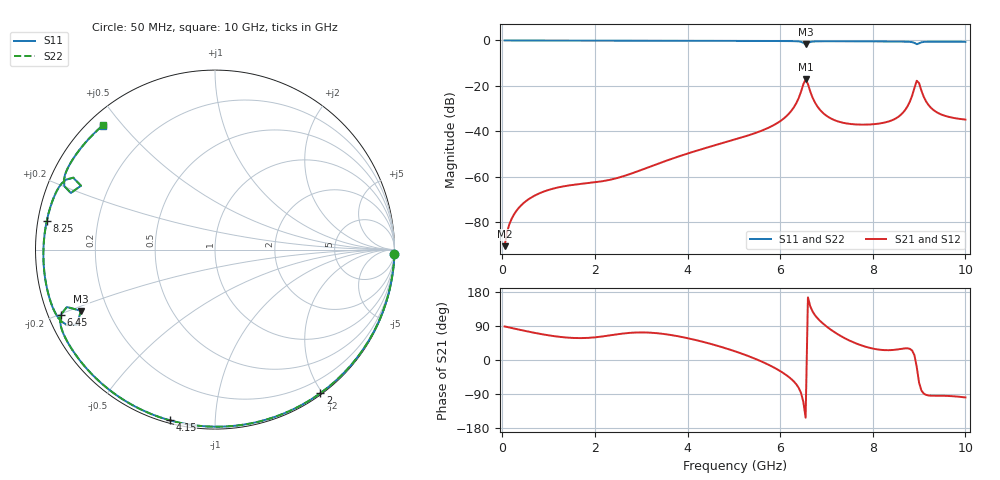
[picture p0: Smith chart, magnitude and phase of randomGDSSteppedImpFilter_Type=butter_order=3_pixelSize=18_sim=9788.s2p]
! freq	dB(S11)	phase(S11)	dB(S12)	phase(S12)
!  dB(S21)	phase(S21)	dB(S22)	phase(S22)
!S-par simulation data
#  GHz  S  DB  R 50
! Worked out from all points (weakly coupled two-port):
!   200 points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, 50 MHz to 10 GHz, reference 50 ohm
!   highest |S21| = -17.18 dB at 6.55 GHz (marker M1); lowest = -90.7 dB at 50 MHz (marker M2)
!   lowest |S11| = -1.7 dB at 6.55 GHz (marker M3), VSWR 10.17, Z = 5.15 - j10.8 ohm
!   |S11| at or under -10 dB: nowhere
!   |S22| runs from -1.7 to 0.0 dB; largest |S21 - S12| = 0
!   S11 on the Smith chart (normalised r, x): 50 MHz: 0, -82; 2 GHz: 0.02, -1.98; 4.15 GHz: 0.01, -0.77; 6.45 GHz: 0.04, -0.20; 8.25 GHz: 0.03, +0.09; 10 GHz: 0.04, +0.44
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0.05  -0.00 -1.4  -90.66 88.6  -90.66 88.6  -0.00 -1.4
0.15  -0.00 -4.2  -81.15 85.8  -81.15 85.8  -0.00 -4.2
0.75  -0.03 -20.6  -67.85 70.4  -67.85 70.4  -0.03 -20.6
1.75  -0.06 -47.3  -63.11 57.9  -63.11 57.9  -0.06 -47.3
2  -0.07 -53.7  -62.52 59.8  -62.52 59.8  -0.07 -53.7
3.4  -0.11 -87.9  -54.05 70.0  -54.05 70.0  -0.11 -87.9
4.15  -0.14 -104.9  -48.88 53.5  -48.88 53.5  -0.14 -104.9
5.05  -0.18 -124.4  -43.49 21.9  -43.49 21.9  -0.18 -124.4
6  -0.25 -144.7  -35.59 -29.2  -35.59 -29.2  -0.25 -144.7
6.25  -0.30 -150.6  -30.79 -51.3  -30.79 -51.3  -0.30 -150.6
6.45  -0.60 -157.1  -22.65 -86.7  -22.65 -86.7  -0.60 -157.1
6.55  -1.71 -155.4  -17.18 -152.2  -17.18 -152.2  -1.72 -155.4
6.7  -0.50 -154.8  -25.19 128.1  -25.19 128.1  -0.50 -154.8
6.9  -0.36 -160.5  -31.45 98.9  -31.45 98.9  -0.36 -160.5
7.25  -0.35 -168.4  -35.69 67.5  -35.69 67.5  -0.35 -168.4
8.25  -0.44 170.2  -36.21 26.1  -36.21 26.1  -0.44 170.2
8.35  -0.45 168.0  -35.67 25.9  -35.67 25.9  -0.45 167.9
8.7  -0.54 159.6  -30.62 30.7  -30.62 30.7  -0.54 159.5
8.95  -1.65 154.5  -17.75 -18.9  -17.75 -18.9  -1.65 154.5
9.15  -0.59 153.4  -26.83 -92.0  -26.83 -92.0  -0.59 153.4
9.3  -0.55 149.2  -30.48 -94.3  -30.48 -94.3  -0.55 149.1
10  -0.61 132.2  -34.88 -98.8  -34.88 -98.8  -0.61 132.1
